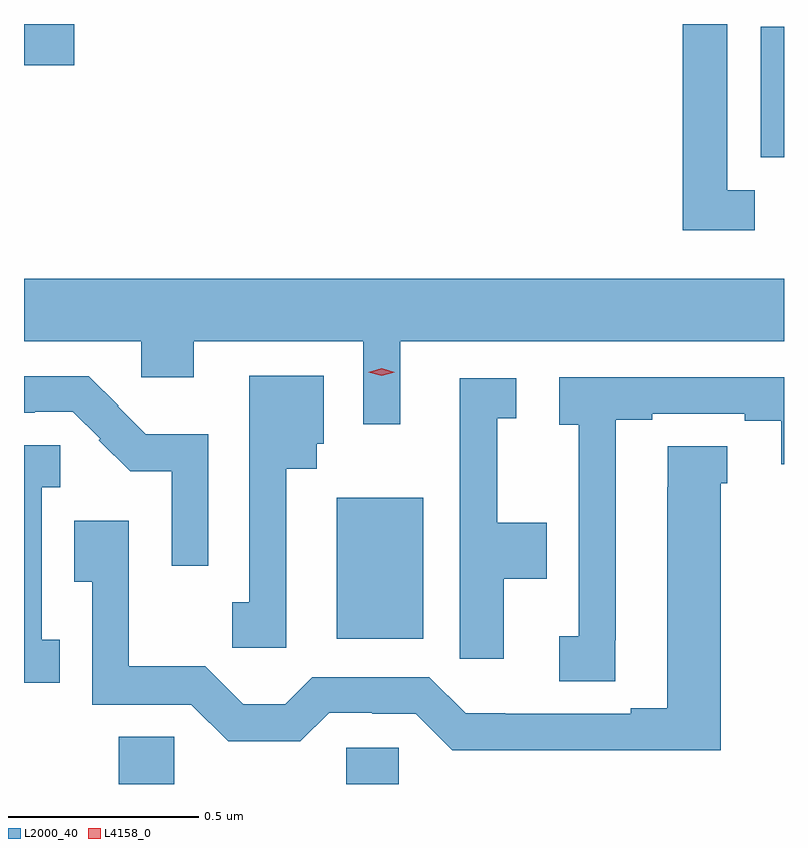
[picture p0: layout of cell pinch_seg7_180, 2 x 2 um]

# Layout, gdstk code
import gdstk
lib = gdstk.Library(unit=1e-6, precision=1e-09)
def R(c, l, rs):  # rectangles x0, y0, x1, y1
    for r in rs: c.add(gdstk.rectangle(r[:2], r[2:], *l))
def P(c, l, *ps):  # polygons
    for p in ps: c.add(gdstk.Polygon(p, *l))
L2000_40 = (2000, 40)
L4158_0 = (4158, 0)

pinch_seg7_180 = lib.new_cell('pinch_seg7_180')
R(pinch_seg7_180, L2000_40, [(1081.156,1020.763,1081.302,1020.887), (1081.755,1020.763,1081.893,1020.858), (1081.73,1021.145,1081.957,1021.516), (1082.846,1022.413,1082.907,1022.756), (1080.907,1022.654,1081.039,1022.763)])
P(pinch_seg7_180, L2000_40, [(1082.83,1022.325),(1082.757,1022.325),(1082.757,1022.763),(1082.641,1022.763),(1082.641,1022.22),(1082.83,1022.22)],
  [(1081.897,1021.928),(1082.907,1021.928),(1082.907,1022.092),(1080.907,1022.092),(1080.907,1021.928),(1081.215,1021.928),(1081.215,1021.833),(1081.354,1021.833),(1081.354,1021.928),(1081.8,1021.928),(1081.8,1021.71),(1081.897,1021.71)],
  [(1081.597,1021.592),(1081.678,1021.592),(1081.678,1021.659),(1081.696,1021.659),(1081.696,1021.837),(1081.5,1021.837),(1081.5,1021.241),(1081.455,1021.241),(1081.455,1021.122),(1081.597,1021.122)],
  [(1081.392,1021.684),(1081.227,1021.684),(1081.154,1021.757),(1081.156,1021.759),(1081.078,1021.836),(1080.907,1021.836),(1080.907,1021.74),(1080.935,1021.74),(1080.935,1021.743),(1081.035,1021.743),(1081.107,1021.671),(1081.104,1021.668),(1081.187,1021.586),(1081.296,1021.586),(1081.296,1021.338),(1081.392,1021.338)],
  [(1082.463,1021.141),(1082.464,1021.141),(1082.464,1021.722),(1082.56,1021.722),(1082.56,1021.737),(1082.804,1021.737),(1082.804,1021.719),(1082.9,1021.719),(1082.9,1021.604),(1082.907,1021.604),(1082.907,1021.833),(1082.316,1021.833),(1082.316,1021.709),(1082.367,1021.709),(1082.367,1021.152),(1082.316,1021.152),(1082.316,1021.033),(1082.463,1021.033)],
  [(1082.17,1021.303),(1082.282,1021.303),(1082.282,1021.45),(1082.153,1021.45),(1082.153,1021.725),(1082.203,1021.725),(1082.203,1021.831),(1082.054,1021.831),(1082.054,1021.092),(1082.17,1021.092)],
  [(1081.001,1021.142),(1080.954,1021.142),(1080.954,1021.544),(1081.003,1021.544),(1081.003,1021.655),(1080.907,1021.655),(1080.907,1021.029),(1081.001,1021.029)],
  [(1082.74,1021.554),(1082.758,1021.554),(1082.758,1021.652),(1082.601,1021.652),(1082.601,1021.544),(1082.6,1021.544),(1082.6,1020.963),(1082.504,1020.963),(1082.504,1020.948),(1082.173,1020.948),(1082.173,1020.949),(1082.069,1020.949),(1081.974,1021.044),(1081.665,1021.044),(1081.594,1020.973),(1081.484,1020.973),(1081.384,1021.073),(1081.182,1021.073),(1081.182,1021.456),(1081.039,1021.456),(1081.039,1021.295),(1081.086,1021.295),(1081.086,1020.972),(1081.347,1020.972),(1081.444,1020.875),(1081.634,1020.875),(1081.71,1020.951),(1081.823,1020.951),(1081.823,1020.948),(1081.938,1020.948),(1082.034,1020.852),(1082.74,1020.852)])
P(pinch_seg7_180, L4158_0, [(1081.848,1021.837),(1081.813,1021.846),(1081.812,1021.847),(1081.813,1021.847),(1081.848,1021.857),(1081.883,1021.847),(1081.883,1021.847),(1081.883,1021.846)])

lib.write_gds('pinch_seg7_180.gds')
